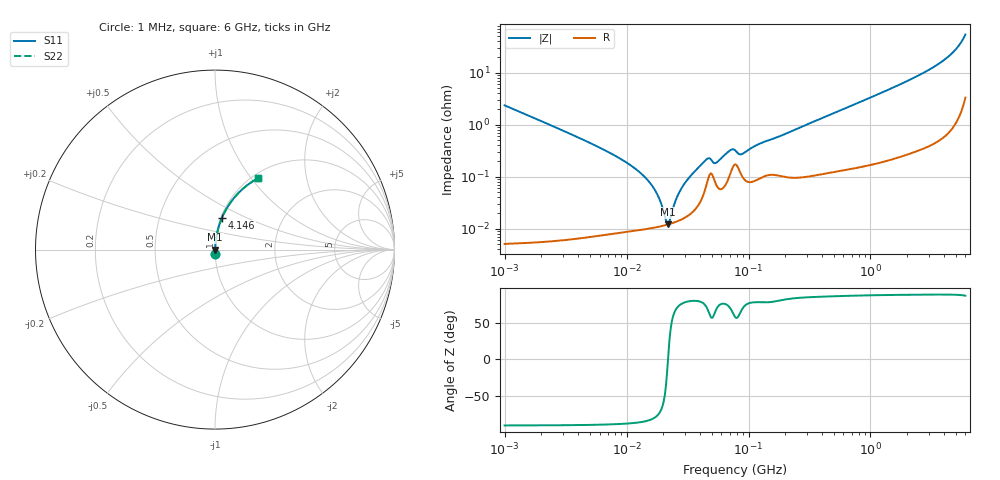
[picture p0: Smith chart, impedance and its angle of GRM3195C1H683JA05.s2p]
!Murata Part Number: GRM3195C1H683JA05
!These Parameters are Measured in Series Mode Connection
!Data Generated on Mar 30, 2021
!  o--ll--o
!Port1  Port2
!  o------o
!Operation Temp=25[degC], DC Bias Voltage=0[V]
!Freq. Start=1000[kHz] Stop=6[GHz] 401[Steps]
# Hz S RI R 50
!Freq.(Hz) S11(Real) S11(Imag) S21(Real) S21(Imag) S12(Real) S12(Imag) S22(Real) S22(Imag)
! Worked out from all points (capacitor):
!   401 points, 1 MHz to 6 GHz, reference 50 ohm
!   read as one part in series: C = 67.5 nF near 1.044 MHz
!   lowest |Z| = 12 mohm at 21.94 MHz (marker M1)
!   series resonance near 21.86 MHz, so ESL is about 780 pH
!   S11 on the Smith chart (normalised r, x): 1 MHz: 1.00, -0.05; 4.146 GHz: 1.01, +0.37; 6 GHz: 1.07, +1.09
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1000000  0.000604 -0.0235  0.9994 0.0235  0.9994 0.0235  0.000604 -0.0235
4293785  9.32e-05 -0.00527  0.9999 0.00527  0.9999 0.00527  9.32e-05 -0.00527
7894251  8.64e-05 -0.00259  0.9999 0.00259  0.9999 0.00259  8.64e-05 -0.00259
1.16769e7  9.25e-05 -0.00144  0.9999 0.00144  0.9999 0.00144  9.25e-05 -0.00144
1.549236e7  0.000101 -0.000761  0.9999 0.000761  0.9999 0.000761  0.000101 -0.000761
1.843659e7  0.000109 -0.000373  0.9999 0.000373  0.9999 0.000373  0.000109 -0.000373
2.100646e7  0.000117 -8.76e-05  0.9999 8.76e-05  0.9999 8.76e-05  0.000117 -8.76e-05
2.194036e7  0.00012 7.6e-06  0.9999 -7.6e-06  0.9999 -7.6e-06  0.00012 7.6e-06
2.727078e7  0.000144 0.000497  0.9999 -0.000497  0.9999 -0.000497  0.000144 0.000497
3.618157e7  0.000229 0.00124  0.9998 -0.00124  0.9998 -0.00124  0.000229 0.00124
4.596069e7  0.000804 0.00206  0.9992 -0.00206  0.9992 -0.00206  0.000804 0.00206
5.351853e7  0.000757 0.00165  0.9992 -0.00165  0.9992 -0.00165  0.000757 0.00165
7.100585e7  0.00115 0.00301  0.9988 -0.00301  0.9988 -0.00301  0.00115 0.00301
7.745967e7  0.00172 0.00271  0.9983 -0.00271  0.9983 -0.00271  0.00172 0.00271
8.825674e7  0.00103 0.00251  0.999 -0.00251  0.999 -0.00251  0.00103 0.00251
1.223006e8  0.000926 0.00416  0.9991 -0.00416  0.9991 -0.00416  0.000926 0.00416
3.325952e8  0.00115 0.0111  0.9988 -0.0111  0.9988 -0.0111  0.00115 0.0111
1.428092e9  0.00435 0.0477  0.9956 -0.0477  0.9956 -0.0477  0.00435 0.0477
2.742317e9  0.0134 0.0987  0.9866 -0.0987  0.9866 -0.0987  0.0134 0.0987
4.145528e9  0.0391 0.1779  0.9609 -0.1779  0.9609 -0.1779  0.0391 0.1779
5.152685e9  0.0943 0.2732  0.9057 -0.2732  0.9057 -0.2732  0.0943 0.2732
6e9  0.2419 0.3989  0.7581 -0.3989  0.7581 -0.3989  0.2419 0.3989
